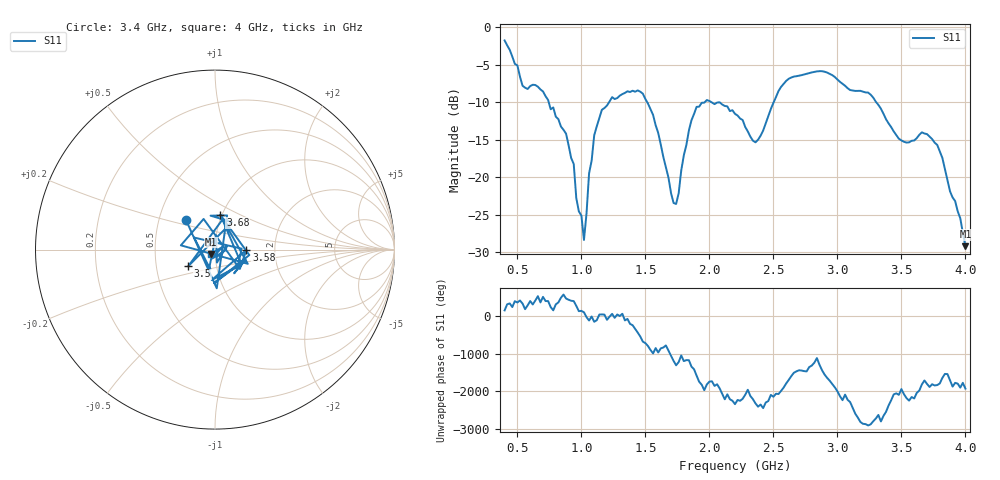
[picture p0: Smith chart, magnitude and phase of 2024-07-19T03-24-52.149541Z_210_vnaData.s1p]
!Created with skrf (http://scikit-rf.org).
# Hz S RI R 50.0
!freq ReS11 ImS11
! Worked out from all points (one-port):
!   181 points, 400 MHz to 4 GHz, reference 50 ohm
!   lowest |S11| = -29.2 dB at 4 GHz (marker M1), VSWR 1.07, Z = 47.5 - j2.32 ohm
!   |S11| at or under -10 dB: 744.7 MHz to 1.216 GHz (471.5 MHz wide, 48.1 % of centre); 2.016 GHz to 2.502 GHz (486.1 MHz wide, 21.5 % of centre); 3.303 GHz to end of sweep (the widest 3 of 4)
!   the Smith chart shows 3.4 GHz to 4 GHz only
!   S11 on the Smith chart (normalised r, x): 3.4 GHz: 0.69, +0.24; 3.5 GHz: 0.73, -0.14; 3.58 GHz: 1.42, -0.01; 3.68 GHz: 0.98, +0.39; 4 GHz: 0.95, -0.05
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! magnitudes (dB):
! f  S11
! 400 MHz  -1.8
! 540 MHz  -7.8
! 700 MHz  -8.6
! 860 MHz  -13.7
! 940 MHz  -18.2
! 960 MHz  -22.8
! 1.02 GHz  -28.4
! 1.06 GHz  -19.5
! 1.1 GHz  -14.4
! 1.16 GHz  -11.0
! 1.3 GHz  -9.1
! 1.48 GHz  -8.9
! 1.6 GHz  -14.1
! 1.72 GHz  -23.5
! 1.76 GHz  -22.1
! 1.84 GHz  -13.8
! 1.9 GHz  -10.6
! 2.2 GHz  -11.6
! 2.36 GHz  -15.4
! 2.66 GHz  -6.6
! 3.1 GHz  -8.4
! 3.4 GHz  -12.8
! 3.5 GHz  -15.1
! 3.56 GHz  -15.4
! 3.58 GHz  -15.2
! 3.68 GHz  -14.2
! 3.82 GHz  -17.4
! 4 GHz  -29.2
